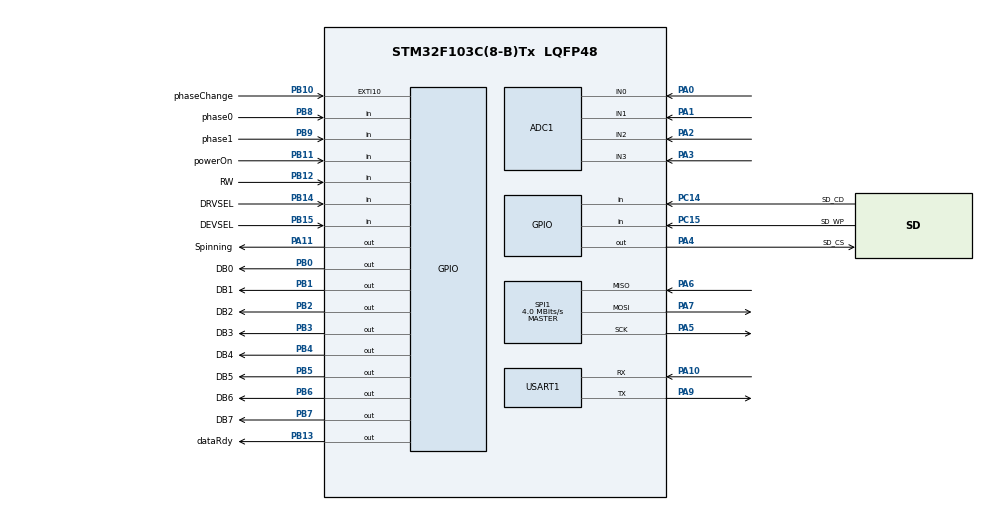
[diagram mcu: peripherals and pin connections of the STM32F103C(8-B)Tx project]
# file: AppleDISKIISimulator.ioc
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ADC1.Channel-0\#ChannelRegularConversion=ADC_CHANNEL_0
ADC1.Channel-1\#ChannelRegularConversion=ADC_CHANNEL_1
ADC1.Channel-2\#ChannelRegularConversion=ADC_CHANNEL_2
ADC1.Channel-3\#ChannelRegularConversion=ADC_CHANNEL_3
ADC1.DiscontinuousConvMode=ENABLE
ADC1.NbrOfConversion=4
ADC1.NbrOfConversionFlag=1
ADC1.Rank-0\#ChannelRegularConversion=1
ADC1.Rank-1\#ChannelRegularConversion=2
ADC1.Rank-2\#ChannelRegularConversion=3
ADC1.Rank-3\#ChannelRegularConversion=4
ADC1.SamplingTime-0\#ChannelRegularConversion=ADC_SAMPLETIME_1CYCLE_5
ADC1.SamplingTime-1\#ChannelRegularConversion=ADC_SAMPLETIME_1CYCLE_5
ADC1.SamplingTime-2\#ChannelRegularConversion=ADC_SAMPLETIME_1CYCLE_5
ADC1.SamplingTime-3\#ChannelRegularConversion=ADC_SAMPLETIME_1CYCLE_5
ADC1.master=1
FATFS._USE_FIND=1
FATFS._USE_LFN=1
Mcu.Family=STM32F1
Mcu.Name=STM32F103C(8-B)Tx
Mcu.Package=LQFP48
NVIC.EXTI15_10_IRQn=true\:0\:0\:false\:false\:true\:true\:true
NVIC.PriorityGroup=NVIC_PRIORITYGROUP_4
NVIC.RCC_IRQn=true\:0\:0\:false\:false\:true\:true\:false
NVIC.TIM3_IRQn=true\:0\:0\:false\:false\:true\:true\:true
NVIC.USART1_IRQn=true\:0\:0\:false\:false\:true\:true\:true
PA0-WKUP.Signal=ADCx_IN0
PA1.Signal=ADCx_IN1
PA10.Mode=Asynchronous
PA10.Signal=USART1_RX
PA11.GPIO_Label=Spinning
PA11.GPIO_Speed=GPIO_SPEED_FREQ_HIGH
PA11.PinState=GPIO_PIN_SET
PA11.Signal=GPIO_Output
PA13.Mode=Serial_Wire
PA13.Signal=SYS_JTMS-SWDIO
PA14.Mode=Serial_Wire
PA14.Signal=SYS_JTCK-SWCLK
PA2.Signal=ADCx_IN2
PA3.Signal=ADCx_IN3
PA4.GPIO_Label=SD_CS
PA4.GPIO_Speed=GPIO_SPEED_FREQ_HIGH
PA4.PinState=GPIO_PIN_SET
PA4.Signal=GPIO_Output
PA5.Mode=Full_Duplex_Master
PA5.Signal=SPI1_SCK
PA6.Mode=Full_Duplex_Master
PA6.Signal=SPI1_MISO
PA7.Mode=Full_Duplex_Master
PA7.Signal=SPI1_MOSI
PA9.Mode=Asynchronous
PA9.Signal=USART1_TX
PB0.GPIO_Label=DB0
PB0.GPIO_ModeDefaultOutputPP=GPIO_MODE_OUTPUT_PP
PB0.GPIO_PuPd=GPIO_NOPULL
PB0.GPIO_Speed=GPIO_SPEED_FREQ_HIGH
PB0.PinState=GPIO_PIN_RESET
PB0.Signal=GPIO_Output
PB1.GPIO_Label=DB1
PB1.GPIO_ModeDefaultOutputPP=GPIO_MODE_OUTPUT_PP
PB1.GPIO_PuPd=GPIO_NOPULL
PB1.GPIO_Speed=GPIO_SPEED_FREQ_HIGH
PB1.PinState=GPIO_PIN_RESET
PB1.Signal=GPIO_Output
PB10.GPIO_Label=phaseChange
PB10.GPIO_ModeDefaultEXTI=GPIO_MODE_IT_FALLING
PB10.Signal=GPXTI10
PB11.GPIO_Label=powerOn
PB11.Signal=GPIO_Input
PB12.GPIO_Label=RW
PB12.GPIO_Mode=GPIO_MODE_INPUT
PB12.Signal=GPIO_Input
PB13.GPIO_Label=dataRdy
PB13.GPIO_ModeDefaultOutputPP=GPIO_MODE_OUTPUT_PP
PB13.GPIO_PuPd=GPIO_NOPULL
PB13.GPIO_Speed=GPIO_SPEED_FREQ_HIGH
PB13.PinState=GPIO_PIN_SET
PB13.Signal=GPIO_Output
PB14.GPIO_Label=DRVSEL
PB14.Signal=GPIO_Input
PB15.GPIO_Label=DEVSEL
PB15.Signal=GPIO_Input
PB2.GPIO_Label=DB2
PB2.GPIO_ModeDefaultOutputPP=GPIO_MODE_OUTPUT_PP
PB2.GPIO_PuPd=GPIO_NOPULL
PB2.GPIO_Speed=GPIO_SPEED_FREQ_HIGH
PB2.PinState=GPIO_PIN_RESET
PB2.Signal=GPIO_Output
PB3.GPIO_Label=DB3
PB3.GPIO_ModeDefaultOutputPP=GPIO_MODE_OUTPUT_PP
PB3.GPIO_PuPd=GPIO_NOPULL
PB3.GPIO_Speed=GPIO_SPEED_FREQ_HIGH
PB3.PinState=GPIO_PIN_RESET
PB3.Signal=GPIO_Output
PB4.GPIO_Label=DB4
PB4.GPIO_ModeDefaultOutputPP=GPIO_MODE_OUTPUT_PP
PB4.GPIO_PuPd=GPIO_NOPULL
PB4.GPIO_Speed=GPIO_SPEED_FREQ_HIGH
PB4.PinState=GPIO_PIN_RESET
PB4.Signal=GPIO_Output
PB5.GPIO_Label=DB5
PB5.GPIO_ModeDefaultOutputPP=GPIO_MODE_OUTPUT_PP
PB5.GPIO_PuPd=GPIO_NOPULL
PB5.GPIO_Speed=GPIO_SPEED_FREQ_HIGH
PB5.PinState=GPIO_PIN_RESET
PB5.Signal=GPIO_Output
PB6.GPIO_Label=DB6
PB6.GPIO_ModeDefaultOutputPP=GPIO_MODE_OUTPUT_PP
PB6.GPIO_PuPd=GPIO_NOPULL
PB6.GPIO_Speed=GPIO_SPEED_FREQ_HIGH
PB6.PinState=GPIO_PIN_RESET
PB6.Signal=GPIO_Output
PB7.GPIO_Label=DB7
PB7.GPIO_ModeDefaultOutputPP=GPIO_MODE_OUTPUT_PP
PB7.GPIO_PuPd=GPIO_NOPULL
PB7.GPIO_Speed=GPIO_SPEED_FREQ_HIGH
PB7.PinState=GPIO_PIN_RESET
PB7.Signal=GPIO_Output
PB8.GPIO_Label=phase0
PB8.GPIO_Mode=GPIO_MODE_INPUT
PB8.Signal=GPIO_Input
PB9.GPIO_Label=phase1
PB9.GPIO_Mode=GPIO_MODE_INPUT
PB9.Signal=GPIO_Input
PC14-OSC32_IN.GPIO_Label=SD_CD
PC14-OSC32_IN.Signal=GPIO_Input
PC15-OSC32_OUT.GPIO_Label=SD_WP
PC15-OSC32_OUT.Signal=GPIO_Input
PD0-OSC_IN.Mode=HSE-External-Oscillator
PD0-OSC_IN.Signal=RCC_OSC_IN
PD1-OSC_OUT.Mode=HSE-External-Oscillator
PD1-OSC_OUT.Signal=RCC_OSC_OUT
ProjectManager.HeapSize=0x200
ProjectManager.StackSize=0x400
ProjectManager.TargetToolchain=STM32CubeIDE
RCC.APB1Freq_Value=8000000
RCC.APB2Freq_Value=8000000
SH.ADCx_IN0.0=ADC1_IN0,IN0
SH.ADCx_IN1.0=ADC1_IN1,IN1
SH.ADCx_IN2.0=ADC1_IN2,IN2
SH.ADCx_IN3.0=ADC1_IN3,IN3
SPI1.BaudRatePrescaler=SPI_BAUDRATEPRESCALER_2
SPI1.CalculateBaudRate=4.0 MBits/s
SPI1.Direction=SPI_DIRECTION_2LINES
SPI1.Mode=SPI_MODE_MASTER
SPI1.VirtualType=VM_MASTER
TIM3.Period=10
TIM3.Prescaler=8000
USART1.VirtualMode=VM_ASYNC
VP_FATFS_VS_Generic.Mode=User_defined
VP_TIM3_VS_ClockSourceINT.Mode=Internal
board=custom

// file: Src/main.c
/* USER CODE BEGIN Header */
/**
  ******************************************************************************
  * @file           : main.c
  * @brief          : Main program body
  ******************************************************************************
  * @attention
  *
  * <h2><center>&copy; Copyright (c) 2019 STMicroelectronics.
  * All rights reserved.</center></h2>
  *
  * This software component is licensed by ST under BSD 3-Clause license,
  * the "License"; You may not use this file except in compliance with the
  * License. You may obtain a copy of the License at:
  *                        opensource.org/licenses/BSD-3-Clause
  *
  ******************************************************************************
  */
/* USER CODE END Header */

#include "main.h"
#include "fatfs.h"

/* USER CODE BEGIN Includes */
#include "DiskDrive.h"
#include "DiskOSD.h"
#include <stdio.h>
#include "disk_sdmmc.h"
#include <string.h>
/* USER CODE END Includes */

ADC_HandleTypeDef hadc1;

SPI_HandleTypeDef hspi1;

TIM_HandleTypeDef htim3;

UART_HandleTypeDef huart1;

void SystemClock_Config(void);
static void MX_GPIO_Init(void);
static void MX_SPI1_Init(void);
static void MX_USART1_UART_Init(void);
static void MX_ADC1_Init(void);
static void MX_TIM3_Init(void);

/* USER CODE BEGIN 0 */
FATFS fs;
/* USER CODE END 0 */

int main(void)
{

  /* MCU Configuration--------------------------------------------------------*/

  /* Reset of all peripherals, Initializes the Flash interface and the Systick. */
  HAL_Init();

  /* Configure the system clock */
  SystemClock_Config();

  /* Initialize all configured peripherals */
  MX_GPIO_Init();
  MX_SPI1_Init();
  MX_USART1_UART_Init();
  MX_FATFS_Init();
  MX_ADC1_Init();
  MX_TIM3_Init();
  /* USER CODE BEGIN 2 */

  HAL_TIM_Base_Start_IT(&htim3);
  HAL_UART_Receive_IT(&huart1, &uartData, 1);

  while (1)
  {
	  FRESULT r;
	  memset((void *)&fs, 0, sizeof(FATFS));
	  r = f_mount(&fs, "0:", 1);
	  if (r != FR_OK)
	  {
		  for (int i = 0; i < 0x3fff; i++);
		  r = f_mount(&fs, "0:", 1);
	  }
	  if (r == FR_OK)
	  {
		  InitDiskDrives();
		  DiskOSDInit();
		  NibberThread();
	  }
	  for (int i = 2; i < 24; i++)
		  PRINT(0, i, "                                        ", 0);
	  if ((MMC_disk_status() & STA_NODISK) == 0)
	  {
		  //Report error to screen
		  PRINT(0, 0, "         DISK SIMULATOR ERROR           ", 1);
		  PRINT(0, 1, "     UNABLE TO MOUNT FILE SYSTEM        ", 0);
		  PRINT(0, 2, "         PLEASE CHECK SD CARD           ", 0);
		  PRINT(0, 3, "    AND/OR TRY RESETING SIMULATOR       ", 0);
		  char code[20];
		  sprintf(code, "ERRCODE=%d", r);
		  PRINT(15, 5, code, 1);
	  }
	  else
	  {
		  PRINT(0, 0, "         NO SD CARD INSERTED            ", 1);
		  PRINT(0, 1, "     PLEASE INSERT AN SD/MMC CARD       ", 0);
	  }

	  if (r == FR_OK)
	  {
		  r = f_mount(NULL, "0:", 1);
	  }
	  while ((MMC_disk_status() & STA_NODISK) > 0);
	  MMC_disk_initialize();
  }

  /* USER CODE END 2 */

  /* Infinite loop */
  while (1)
  {

  }
}

void SystemClock_Config(void)
{
  RCC_OscInitTypeDef RCC_OscInitStruct = {0};
  RCC_ClkInitTypeDef RCC_ClkInitStruct = {0};
  RCC_PeriphCLKInitTypeDef PeriphClkInit = {0};

  /** Initializes the CPU, AHB and APB busses clocks
  */
  RCC_OscInitStruct.OscillatorType = RCC_OSCILLATORTYPE_HSI;
  RCC_OscInitStruct.HSIState = RCC_HSI_ON;
  RCC_OscInitStruct.HSICalibrationValue = RCC_HSICALIBRATION_DEFAULT;
  RCC_OscInitStruct.PLL.PLLState = RCC_PLL_NONE;
  if (HAL_RCC_OscConfig(&RCC_OscInitStruct) != HAL_OK)
  {
    Error_Handler();
  }
  /** Initializes the CPU, AHB and APB busses clocks
  */
  RCC_ClkInitStruct.ClockType = RCC_CLOCKTYPE_HCLK|RCC_CLOCKTYPE_SYSCLK
                              |RCC_CLOCKTYPE_PCLK1|RCC_CLOCKTYPE_PCLK2;
  RCC_ClkInitStruct.SYSCLKSource = RCC_SYSCLKSOURCE_HSI;
  RCC_ClkInitStruct.AHBCLKDivider = RCC_SYSCLK_DIV1;
  RCC_ClkInitStruct.APB1CLKDivider = RCC_HCLK_DIV1;
  RCC_ClkInitStruct.APB2CLKDivider = RCC_HCLK_DIV1;

  if (HAL_RCC_ClockConfig(&RCC_ClkInitStruct, FLASH_LATENCY_0) != HAL_OK)
  {
    Error_Handler();
  }
  PeriphClkInit.PeriphClockSelection = RCC_PERIPHCLK_ADC;
  PeriphClkInit.AdcClockSelection = RCC_ADCPCLK2_DIV2;
  if (HAL_RCCEx_PeriphCLKConfig(&PeriphClkInit) != HAL_OK)
  {
    Error_Handler();
  }
}

static void MX_ADC1_Init(void)
{

  ADC_ChannelConfTypeDef sConfig = {0};

  /** Common config
  */
  hadc1.Instance = ADC1;
  hadc1.Init.ScanConvMode = ADC_SCAN_ENABLE;
  hadc1.Init.ContinuousConvMode = DISABLE;
  hadc1.Init.DiscontinuousConvMode = ENABLE;
  hadc1.Init.NbrOfDiscConversion = 1;
  hadc1.Init.ExternalTrigConv = ADC_SOFTWARE_START;
  hadc1.Init.DataAlign = ADC_DATAALIGN_RIGHT;
  hadc1.Init.NbrOfConversion = 4;
  if (HAL_ADC_Init(&hadc1) != HAL_OK)
  {
    Error_Handler();
  }
  /** Configure Regular Channel
  */
  sConfig.Channel = ADC_CHANNEL_0;
  sConfig.Rank = ADC_REGULAR_RANK_1;
  sConfig.SamplingTime = ADC_SAMPLETIME_1CYCLE_5;
  if (HAL_ADC_ConfigChannel(&hadc1, &sConfig) != HAL_OK)
  {
    Error_Handler();
  }
  /** Configure Regular Channel
  */
  sConfig.Channel = ADC_CHANNEL_1;
  sConfig.Rank = ADC_REGULAR_RANK_2;
  if (HAL_ADC_ConfigChannel(&hadc1, &sConfig) != HAL_OK)
  {
    Error_Handler();
  }
  /** Configure Regular Channel
  */
  sConfig.Channel = ADC_CHANNEL_2;
  sConfig.Rank = ADC_REGULAR_RANK_3;
  if (HAL_ADC_ConfigChannel(&hadc1, &sConfig) != HAL_OK)
  {
    Error_Handler();
  }
  /** Configure Regular Channel
  */
  sConfig.Channel = ADC_CHANNEL_3;
  sConfig.Rank = ADC_REGULAR_RANK_4;
  if (HAL_ADC_ConfigChannel(&hadc1, &sConfig) != HAL_OK)
  {
    Error_Handler();
  }

}

static void MX_SPI1_Init(void)
{

  /* SPI1 parameter configuration*/
  hspi1.Instance = SPI1;
  hspi1.Init.Mode = SPI_MODE_MASTER;
  hspi1.Init.Direction = SPI_DIRECTION_2LINES;
  hspi1.Init.DataSize = SPI_DATASIZE_8BIT;
  hspi1.Init.CLKPolarity = SPI_POLARITY_LOW;
  hspi1.Init.CLKPhase = SPI_PHASE_1EDGE;
  hspi1.Init.NSS = SPI_NSS_SOFT;
  hspi1.Init.BaudRatePrescaler = SPI_BAUDRATEPRESCALER_2;
  hspi1.Init.FirstBit = SPI_FIRSTBIT_MSB;
  hspi1.Init.TIMode = SPI_TIMODE_DISABLE;
  hspi1.Init.CRCCalculation = SPI_CRCCALCULATION_DISABLE;
  hspi1.Init.CRCPolynomial = 10;
  if (HAL_SPI_Init(&hspi1) != HAL_OK)
  {
    Error_Handler();
  }

}

static void MX_TIM3_Init(void)
{

  TIM_ClockConfigTypeDef sClockSourceConfig = {0};
  TIM_MasterConfigTypeDef sMasterConfig = {0};

  htim3.Instance = TIM3;
  htim3.Init.Prescaler = 8000;
  htim3.Init.CounterMode = TIM_COUNTERMODE_UP;
  htim3.Init.Period = 10;
  htim3.Init.ClockDivision = TIM_CLOCKDIVISION_DIV1;
  htim3.Init.AutoReloadPreload = TIM_AUTORELOAD_PRELOAD_DISABLE;
  if (HAL_TIM_Base_Init(&htim3) != HAL_OK)
  {
    Error_Handler();
  }
  sClockSourceConfig.ClockSource = TIM_CLOCKSOURCE_INTERNAL;
  if (HAL_TIM_ConfigClockSource(&htim3, &sClockSourceConfig) != HAL_OK)
  {
    Error_Handler();
  }
  sMasterConfig.MasterOutputTrigger = TIM_TRGO_RESET;
  sMasterConfig.MasterSlaveMode = TIM_MASTERSLAVEMODE_DISABLE;
  if (HAL_TIMEx_MasterConfigSynchronization(&htim3, &sMasterConfig) != HAL_OK)
  {
    Error_Handler();
  }

}

static void MX_USART1_UART_Init(void)
{

  huart1.Instance = USART1;
  huart1.Init.BaudRate = 115200;
  huart1.Init.WordLength = UART_WORDLENGTH_8B;
  huart1.Init.StopBits = UART_STOPBITS_1;
  huart1.Init.Parity = UART_PARITY_NONE;
  huart1.Init.Mode = UART_MODE_TX_RX;
  huart1.Init.HwFlowCtl = UART_HWCONTROL_NONE;
  huart1.Init.OverSampling = UART_OVERSAMPLING_16;
  if (HAL_UART_Init(&huart1) != HAL_OK)
  {
    Error_Handler();
  }

}

static void MX_GPIO_Init(void)
{
  GPIO_InitTypeDef GPIO_InitStruct = {0};

  /* GPIO Ports Clock Enable */
  __HAL_RCC_GPIOC_CLK_ENABLE();
  __HAL_RCC_GPIOD_CLK_ENABLE();
  __HAL_RCC_GPIOA_CLK_ENABLE();
  __HAL_RCC_GPIOB_CLK_ENABLE();

  /*Configure GPIO pin Output Level */
  HAL_GPIO_WritePin(GPIOA, SD_CS_Pin|Spinning_Pin, GPIO_PIN_SET);

  /*Configure GPIO pin Output Level */
  HAL_GPIO_WritePin(GPIOB, DB0_Pin|DB1_Pin|DB2_Pin|DB3_Pin
                          |DB4_Pin|DB5_Pin|DB6_Pin|DB7_Pin, GPIO_PIN_RESET);

  /*Configure GPIO pin Output Level */
  HAL_GPIO_WritePin(dataRdy_GPIO_Port, dataRdy_Pin, GPIO_PIN_SET);

  /*Configure GPIO pins : SD_CD_Pin SD_WP_Pin */
  GPIO_InitStruct.Pin = SD_CD_Pin|SD_WP_Pin;
  GPIO_InitStruct.Mode = GPIO_MODE_INPUT;
  GPIO_InitStruct.Pull = GPIO_NOPULL;
  HAL_GPIO_Init(GPIOC, &GPIO_InitStruct);

  /*Configure GPIO pins : SD_CS_Pin Spinning_Pin */
  GPIO_InitStruct.Pin = SD_CS_Pin|Spinning_Pin;
  GPIO_InitStruct.Mode = GPIO_MODE_OUTPUT_PP;
  GPIO_InitStruct.Pull = GPIO_NOPULL;
  GPIO_InitStruct.Speed = GPIO_SPEED_FREQ_HIGH;
  HAL_GPIO_Init(GPIOA, &GPIO_InitStruct);

  /*Configure GPIO pins : DB0_Pin DB1_Pin DB2_Pin dataRdy_Pin
                           DB3_Pin DB4_Pin DB5_Pin DB6_Pin
                           DB7_Pin */
  GPIO_InitStruct.Pin = DB0_Pin|DB1_Pin|DB2_Pin|dataRdy_Pin
                          |DB3_Pin|DB4_Pin|DB5_Pin|DB6_Pin
                          |DB7_Pin;
  GPIO_InitStruct.Mode = GPIO_MODE_OUTPUT_PP;
  GPIO_InitStruct.Pull = GPIO_NOPULL;
  GPIO_InitStruct.Speed = GPIO_SPEED_FREQ_HIGH;
  HAL_GPIO_Init(GPIOB, &GPIO_InitStruct);

  /*Configure GPIO pin : phaseChange_Pin */
  GPIO_InitStruct.Pin = phaseChange_Pin;
  GPIO_InitStruct.Mode = GPIO_MODE_IT_FALLING;
  GPIO_InitStruct.Pull = GPIO_NOPULL;
  HAL_GPIO_Init(phaseChange_GPIO_Port, &GPIO_InitStruct);

  /*Configure GPIO pins : powerOn_Pin RW_Pin DRVSEL_Pin DEVSEL_Pin
                           phase0_Pin phase1_Pin */
  GPIO_InitStruct.Pin = powerOn_Pin|RW_Pin|DRVSEL_Pin|DEVSEL_Pin
                          |phase0_Pin|phase1_Pin;
  GPIO_InitStruct.Mode = GPIO_MODE_INPUT;
  GPIO_InitStruct.Pull = GPIO_NOPULL;
  HAL_GPIO_Init(GPIOB, &GPIO_InitStruct);

  /* EXTI interrupt init*/
  HAL_NVIC_SetPriority(EXTI15_10_IRQn, 0, 0);
  HAL_NVIC_EnableIRQ(EXTI15_10_IRQn);

}

/* USER CODE BEGIN 4 */
void OutputMode()
{
	GPIO_InitTypeDef GPIO_InitStruct = {0};
	GPIO_InitStruct.Pin = DB0_Pin|DB1_Pin|DB2_Pin|DB3_Pin
            |DB4_Pin|DB5_Pin|DB6_Pin|DB7_Pin;
	GPIO_InitStruct.Mode = GPIO_MODE_OUTPUT_PP;
	GPIO_InitStruct.Pull = GPIO_NOPULL;
	GPIO_InitStruct.Speed = GPIO_SPEED_FREQ_HIGH;
	HAL_GPIO_Init(GPIOB, &GPIO_InitStruct);
}

void InputMode()
{
	GPIO_InitTypeDef GPIO_InitStruct = {0};
	GPIO_InitStruct.Pin = DB0_Pin|DB1_Pin|DB2_Pin|DB3_Pin
            |DB4_Pin|DB5_Pin|DB6_Pin|DB7_Pin;
	GPIO_InitStruct.Mode = GPIO_MODE_OUTPUT_OD;
	GPIO_InitStruct.Pull = GPIO_PULLUP;
	GPIO_InitStruct.Speed = GPIO_SPEED_FREQ_HIGH;
	HAL_GPIO_Init(GPIOB, &GPIO_InitStruct);
}

/* USER CODE END 4 */

void Error_Handler(void)
{
}

/************************ (C) COPYRIGHT STMicroelectronics *****END OF FILE****/
